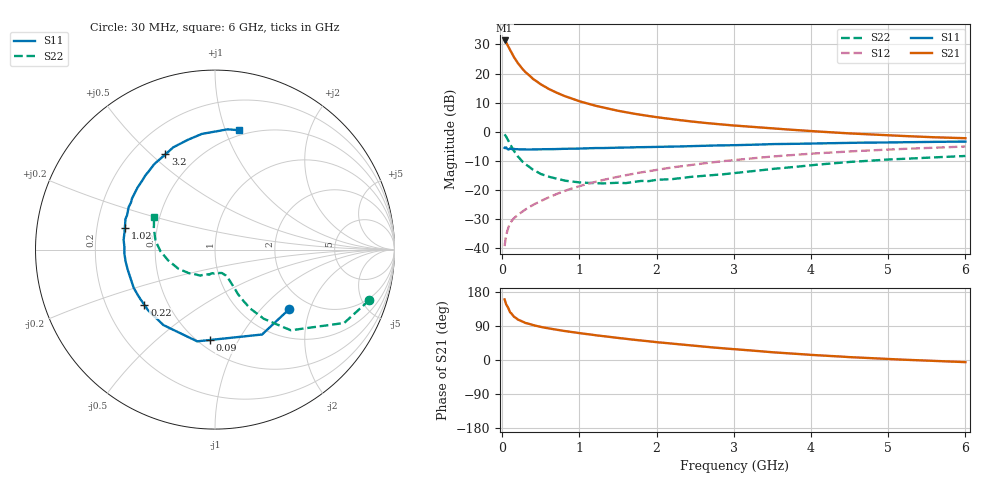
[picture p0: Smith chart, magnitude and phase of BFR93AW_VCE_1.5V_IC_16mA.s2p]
! Infineon Technologies  Discrete & RF Semiconductors
! BFR93AW
! VCE =  1.5 V,  IC =  16 mA
! Common Emitter S-Parameters:  Nov 2015
# GHz  S  MA  R  50
!  f  S11  S21  S12  S22
! GHz  MAG  ANG  MAG  ANG  MAG  ANG  MAG  ANG
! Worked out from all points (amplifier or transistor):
!   206 points, 30 MHz to 6 GHz, reference 50 ohm
!   highest |S21| = 31.4 dB at 30 MHz (marker M1)
!   |S21| within 3 dB of that: start of sweep to 95.45 MHz
!   unconditionally stable (mu >= 1): 566.5 MHz to 2.547 GHz
!   at 200 MHz: K = 0.65, MSG = 26.1 dB, |S12| = -28.6 dB
!   at 1.56 GHz: K = 1.06, MAG = 9.5 dB, |S12| = -15.1 dB
!   at 6 GHz: K = 0.96, MSG = 1.4 dB, |S12| = -5.0 dB
!   S11 on the Smith chart (normalised r, x): 30 MHz: 1.58, -1.46; 90 MHz: 0.57, -0.77; 220 MHz: 0.37, -0.30; 1.02 GHz: 0.32, +0.11; 3.2 GHz: 0.34, +0.56; 6 GHz: 0.45, +1.11
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0.03  0.53 -38.8  37 159.8  0.0109 73.6  0.9052 -18.1
0.05  0.5409 -61.0  34.3 146.8  0.0171 67.9  0.8275 -29.6
0.09  0.5042 -93.1  26.99 131.3  0.025 58.4  0.6533 -42.5
0.1  0.5207 -101.0  25.57 126.2  0.027 56.9  0.6167 -46.8
0.15  0.5093 -124.3  19.21 114.4  0.0328 53.4  0.4714 -54.8
0.2  0.5035 -137.8  15.22 107.0  0.0372 54.7  0.381 -59.2
0.22  0.4999 -141.9  14.11 105.1  0.039 55.4  0.3555 -60.0
0.26  0.4991 -149.5  12.09 101.0  0.0427 56.6  0.3095 -61.7
0.3  0.5006 -154.8  10.57 97.8  0.0465 57.5  0.2778 -62.7
0.4  0.4986 -165.1  8.051 91.8  0.0558 60.8  0.2222 -63.5
0.5  0.5024 -172.3  6.517 87.1  0.0649 63.0  0.1889 -64.8
0.6  0.5051 -177.3  5.463 83.4  0.0749 64.5  0.1699 -65.5
0.7  0.5055 177.9  4.72 79.8  0.0851 65.5  0.1571 -67.2
1.02  0.5167 166.3  3.291 70.4  0.1189 66.3  0.1349 -75.2
1.04  0.5177 165.7  3.234 69.9  0.121 66.2  0.1344 -76.2
1.5  0.5363 153.8  2.296 58.3  0.1696 64.6  0.1336 -92.2
2.02  0.553 141.1  1.768 46.6  0.2249 60.8  0.1506 -110.1
3.1  0.5934 119.3  1.254 27.0  0.337 50.6  0.2014 -141.1
3.2  0.5981 117.5  1.225 25.5  0.3468 49.5  0.2078 -144.2
4.1  0.6329 102.4  1.011 12.4  0.4292 39.5  0.2745 -169.6
5.1  0.6598 88.9  0.86 1.6  0.5031 28.5  0.3391 169.4
6  0.6788 78.7  0.777 -5.6  0.5597 19.3  0.3851 151.7
